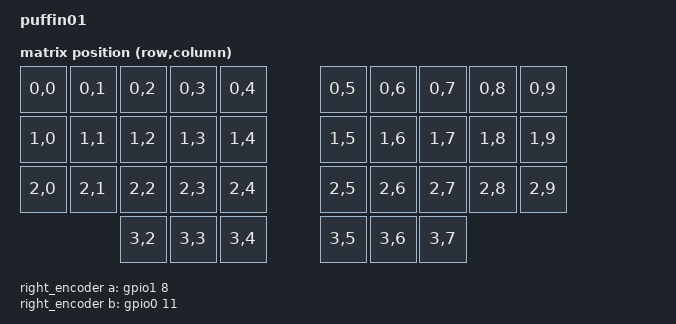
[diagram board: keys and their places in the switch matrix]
/*
 * Copyright (c) 2020 The ZMK Contributors
 *
 * SPDX-License-Identifier: MIT
 */

/dts-v1/;
#include <nordic/nrf52840_qiaa.dtsi> 
#include <dt-bindings/zmk/matrix_transform.h>
#include <dt-bindings/led/led.h>

#ifdef MOUSE_KEYS
#    include "mouse.dtsi"
#    define MS_ACT(key) &lt MSE key
#else
#    define MS_ACT(key) &kp key
#endif

/ {
    model = "puffin01";
    compatible = "puffin01";

	chosen {
		zephyr,code-partition = &code_partition;
		zephyr,sram = &sram0;
		zephyr,flash = &flash0;
		zmk,kscan = &kscan;
		zmk,matrix_transform = &default_transform;
		//zmk,battery = &vbatt;
		zephyr,console = &cdc_acm_uart0;
	};
		
	right_encoder: encoder_right {
		compatible = "alps,ec11";
		a-gpios = <&gpio1 8 (GPIO_ACTIVE_HIGH | GPIO_PULL_UP)>;
		b-gpios = <&gpio0 11 (GPIO_ACTIVE_HIGH | GPIO_PULL_UP)>;
		resolution = <4>;
		status = "okay";
	};
	
	sensors: sensors {
		compatible = "zmk,keymap-sensors";
		sensors = <&right_encoder>;
	};

	default_transform: transform_0 {
		compatible = "zmk,matrix-transform";
		rows = <4>;
		columns = <10>;

		map = <
	RC(0,0) RC(0,1) RC(0,2) RC(0,3) RC(0,4) RC(0,5) RC(0,6) RC(0,7) RC(0,8) RC(0,9)
	RC(1,0) RC(1,1) RC(1,2) RC(1,3) RC(1,4) RC(1,5) RC(1,6) RC(1,7) RC(1,8) RC(1,9)
	RC(2,0) RC(2,1) RC(2,2) RC(2,3) RC(2,4) RC(2,5) RC(2,6) RC(2,7) RC(2,8) RC(2,9)
					RC(3,2)	RC(3,3) RC(3,4) RC(3,5) RC(3,6) RC(3,7)
	>;
	};	

};

&adc {
	status = "okay";
};

&gpiote {
	status = "okay";
};

&gpio0 {
	status = "okay";
};

&gpio1 {
	status = "okay";
};



&usbd {
	status = "okay";
	cdc_acm_uart0: cdc_acm_uart0 {
		compatible = "zephyr,cdc-acm-uart";
		label = "CDC_ACM_0";
	};
}; 


&flash0 {
	/*
	 * For more information, see:
	 * http://docs.zephyrproject.org/latest/devices/dts/flash_partitions.html
	 */
	partitions {
		compatible = "fixed-partitions";
		#address-cells = <1>;
		#size-cells = <1>;

		sd_partition: partition@0 {
			label = "mbr";
			reg = <0x00000000 0x00001000>;
		};
		code_partition: partition@1000 {
			label = "code_partition";
			reg = <0x00001000 0x000d3000>;
		};

		storage_partition: partition@d4000 {
			label = "storage";
			reg = <0x000d4000 0x00020000>;
		};

		boot_partition: partition@f4000 {
			label = "adafruit_boot";
			reg = <0x000f4000 0x0000c000>;
		};
	};
}; 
